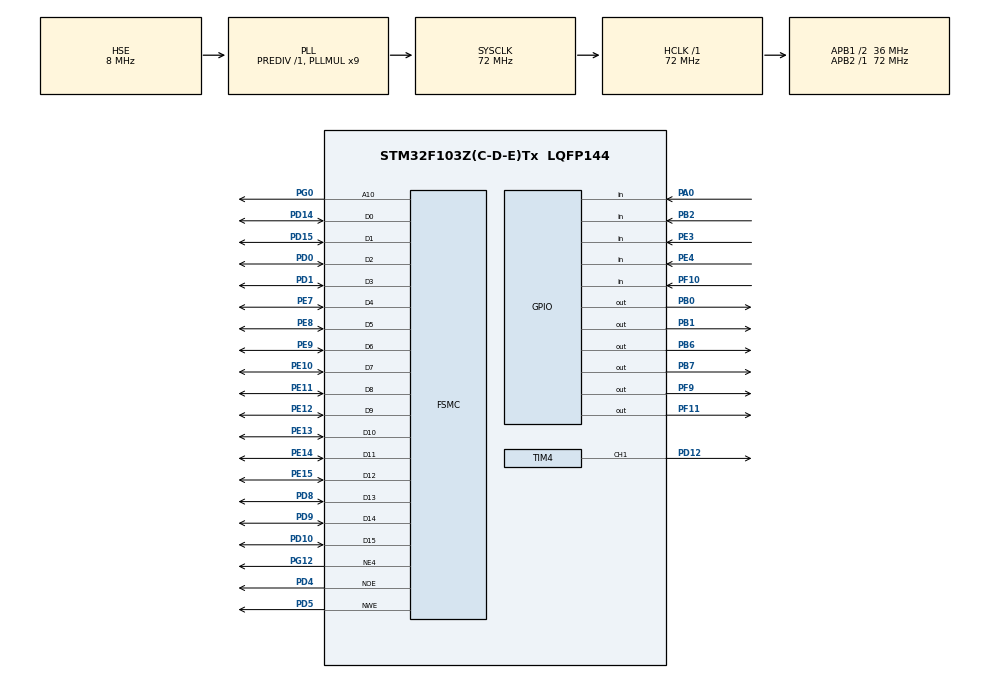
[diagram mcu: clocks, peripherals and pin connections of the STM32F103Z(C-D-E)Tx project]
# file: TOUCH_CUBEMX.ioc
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Dma.Request0=TIM4_CH1
Dma.TIM4_CH1.0.Direction=DMA_MEMORY_TO_PERIPH
Dma.TIM4_CH1.0.Instance=DMA1_Channel1
Dma.TIM4_CH1.0.MemDataAlignment=DMA_MDATAALIGN_HALFWORD
Dma.TIM4_CH1.0.MemInc=DMA_MINC_ENABLE
Dma.TIM4_CH1.0.Mode=DMA_NORMAL
Dma.TIM4_CH1.0.PeriphDataAlignment=DMA_PDATAALIGN_HALFWORD
Dma.TIM4_CH1.0.PeriphInc=DMA_PINC_DISABLE
Dma.TIM4_CH1.0.Priority=DMA_PRIORITY_HIGH
FSMC.AddressSetupTime1=0x06
FSMC.BusTurnAroundDuration1=0
FSMC.DataSetupTime1=26
FSMC.ExtendedAddressSetupTime1=3
FSMC.ExtendedBusTurnAroundDuration1=0
FSMC.ExtendedDataSetupTime1=0x06
FSMC.ExtendedMode1=FSMC_EXTENDED_MODE_ENABLE
Mcu.Family=STM32F1
Mcu.Name=STM32F103Z(C-D-E)Tx
Mcu.Package=LQFP144
NVIC.DMA1_Channel1_IRQn=true\:0\:0\:false\:false\:true\:false\:true\:true
NVIC.PriorityGroup=NVIC_PRIORITYGROUP_4
NVIC.TIM2_IRQn=true\:0\:0\:false\:false\:true\:true\:true\:true
NVIC.TIM3_IRQn=true\:0\:0\:false\:false\:true\:true\:true\:true
NVIC.TIM6_IRQn=true\:1\:0\:true\:false\:true\:true\:true\:true
OSC_IN.Mode=HSE-External-Oscillator
OSC_IN.Signal=RCC_OSC_IN
OSC_OUT.Mode=HSE-External-Oscillator
OSC_OUT.Signal=RCC_OSC_OUT
PA0-WKUP.GPIO_PuPd=GPIO_PULLDOWN
PA0-WKUP.Signal=GPIO_Input
PA13.Mode=Serial_Wire
PA13.Signal=SYS_JTMS-SWDIO
PA14.Mode=Serial_Wire
PA14.Signal=SYS_JTCK-SWCLK
PB0.GPIO_PuPd=GPIO_PULLUP
PB0.GPIO_Speed=GPIO_SPEED_FREQ_HIGH
PB0.Signal=GPIO_Output
PB1.GPIO_PuPd=GPIO_PULLUP
PB1.GPIO_Speed=GPIO_SPEED_FREQ_HIGH
PB1.Signal=GPIO_Output
PB2.GPIO_PuPd=GPIO_PULLUP
PB2.Signal=GPIO_Input
PB6.GPIO_PuPd=GPIO_PULLUP
PB6.GPIO_Speed=GPIO_SPEED_FREQ_HIGH
PB6.Signal=GPIO_Output
PB7.GPIO_PuPd=GPIO_PULLUP
PB7.GPIO_Speed=GPIO_SPEED_FREQ_HIGH
PB7.Signal=GPIO_Output
PC14-OSC32_IN.Mode=LSE-External-Oscillator
PC14-OSC32_IN.Signal=RCC_OSC32_IN
PC15-OSC32_OUT.Mode=LSE-External-Oscillator
PC15-OSC32_OUT.Signal=RCC_OSC32_OUT
PD0.Signal=FSMC_D2_DA2
PD1.Signal=FSMC_D3_DA3
PD10.Signal=FSMC_D15_DA15
PD12.Signal=S_TIM4_CH1
PD14.Signal=FSMC_D0_DA0
PD15.Signal=FSMC_D1_DA1
PD4.Signal=FSMC_NOE
PD5.Signal=FSMC_NWE
PD8.Signal=FSMC_D13_DA13
PD9.Signal=FSMC_D14_DA14
PE10.Signal=FSMC_D7_DA7
PE11.Signal=FSMC_D8_DA8
PE12.Signal=FSMC_D9_DA9
PE13.Signal=FSMC_D10_DA10
PE14.Signal=FSMC_D11_DA11
PE15.Signal=FSMC_D12_DA12
PE3.GPIO_PuPd=GPIO_PULLUP
PE3.Signal=GPIO_Input
PE4.GPIO_PuPd=GPIO_PULLUP
PE4.Signal=GPIO_Input
PE7.Signal=FSMC_D4_DA4
PE8.Signal=FSMC_D5_DA5
PE9.Signal=FSMC_D6_DA6
PF10.GPIO_PuPd=GPIO_PULLUP
PF10.Signal=GPIO_Input
PF11.GPIO_Speed=GPIO_SPEED_FREQ_HIGH
PF11.Signal=GPIO_Output
PF9.GPIO_PuPd=GPIO_NOPULL
PF9.GPIO_Speed=GPIO_SPEED_FREQ_HIGH
PF9.Signal=GPIO_Output
PG0.Signal=FSMC_A10
PG12.Mode=NorPsramChipSelect4_1
PG12.Signal=FSMC_NE4
ProjectManager.HeapSize=0x200
ProjectManager.StackSize=0x400
ProjectManager.TargetToolchain=MDK-ARM V5.32
RCC.AHBFreq_Value=72000000
RCC.APB1CLKDivider=RCC_HCLK_DIV2
RCC.APB1Freq_Value=36000000
RCC.APB1TimFreq_Value=72000000
RCC.APB2Freq_Value=72000000
RCC.APB2TimFreq_Value=72000000
RCC.HCLKFreq_Value=72000000
RCC.PLLMUL=RCC_PLL_MUL9
RCC.PLLSourceVirtual=RCC_PLLSOURCE_HSE
RCC.SYSCLKFreq_VALUE=72000000
RCC.SYSCLKSource=RCC_SYSCLKSOURCE_PLLCLK
RCC.USBFreq_Value=72000000
SH.FSMC_A10.0=FSMC_A10,A10_1
SH.FSMC_D0_DA0.0=FSMC_D0,16b-d1
SH.FSMC_D10_DA10.0=FSMC_D10,16b-d1
SH.FSMC_D11_DA11.0=FSMC_D11,16b-d1
SH.FSMC_D12_DA12.0=FSMC_D12,16b-d1
SH.FSMC_D13_DA13.0=FSMC_D13,16b-d1
SH.FSMC_D14_DA14.0=FSMC_D14,16b-d1
SH.FSMC_D15_DA15.0=FSMC_D15,16b-d1
SH.FSMC_D1_DA1.0=FSMC_D1,16b-d1
SH.FSMC_D2_DA2.0=FSMC_D2,16b-d1
SH.FSMC_D3_DA3.0=FSMC_D3,16b-d1
SH.FSMC_D4_DA4.0=FSMC_D4,16b-d1
SH.FSMC_D5_DA5.0=FSMC_D5,16b-d1
SH.FSMC_D6_DA6.0=FSMC_D6,16b-d1
SH.FSMC_D7_DA7.0=FSMC_D7,16b-d1
SH.FSMC_D8_DA8.0=FSMC_D8,16b-d1
SH.FSMC_D9_DA9.0=FSMC_D9,16b-d1
SH.FSMC_NOE.0=FSMC_NOE,Lcd1
SH.FSMC_NWE.0=FSMC_NWE,Lcd1
SH.S_TIM4_CH1.0=TIM4_CH1,PWM Generation1 CH1
TIM2.Period=24999
TIM2.Prescaler=71
TIM3.Period=999
TIM3.Prescaler=7199
TIM4.Channel-PWM\ Generation1\ CH1=TIM_CHANNEL_1
TIM4.Period=89
TIM6.AutoReloadPreload=TIM_AUTORELOAD_PRELOAD_ENABLE
TIM6.Period=999
TIM6.Prescaler=71
VP_TIM2_VS_ClockSourceINT.Mode=Internal
VP_TIM3_VS_ClockSourceINT.Mode=Internal
VP_TIM4_VS_ClockSourceINT.Mode=Internal
VP_TIM6_VS_ClockSourceINT.Mode=Enable_Timer
board=custom

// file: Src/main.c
/* USER CODE BEGIN Header */
/**
  ******************************************************************************
  * @file           : main.c
  * @brief          : Main program body
  ******************************************************************************
  * @attention
  *
  * Copyright (c) 2022 STMicroelectronics.
  * All rights reserved.
  *
  * This software is licensed under terms that can be found in the LICENSE file
  * in the root directory of this software component.
  * If no LICENSE file comes with this software, it is provided AS-IS.
  *
  ******************************************************************************
  */
/* USER CODE END Header */
#include "main.h"
#include "dma.h"
#include "tim.h"
#include "gpio.h"
#include "fsmc.h"

/* USER CODE BEGIN Includes */

#include "lcd.h"
#include "key.h"
#include "24cxx.h"
#include "touch.h"
#include "delay.h"
#include "led.h"
#include "lvgl.h"
#include "lv_conf.h"
#include "lv_port_disp.h"
#include "lv_port_indev.h"
#include "lv_example_event.h"
#include "test_demo.h"
#include "ui.h"
#include "ui_helpers.h"
#include "beep.h"
#include "ws2812.h"
#include "user_time.h"

/* USER CODE END Includes */

void SystemClock_Config(void);

/* USER CODE BEGIN 0 */
int time_tick = 0;	//时基
int Hotwind_S = 0;
int Hotwind_M = 0;
int Watermist_S = 0;
int Watermist_M = 0;
int Light_S = 0;
int Light_M = 0;

int c_red = 0;
int c_green = 0;
int c_blue = 0;
char flash_state = 0;	//频闪控制

extern int Set_time1,Set_time2,Set_time3;
extern char Hotwind_state,Watermist_state,Light_state;
//清空屏幕并在右上角显示"RST"
void Load_Drow_Dialog(void)
{
	LCD_Clear(WHITE);//清屏
 	POINT_COLOR=BLUE;//设置字体为蓝色
	LCD_ShowString(lcddev.width-24,0,200,16,16,"RST");//显示清屏区域
  	POINT_COLOR=RED;//设置画笔蓝色
}

void rtp_test(void)
{
	u8 key;
	u8 i=0;
	while(1)
	{
	 	key=KEY_Scan(0);
		tp_dev.scan(0);
		if(tp_dev.sta&TP_PRES_DOWN)			//触摸屏被按下
		{
		 	if(tp_dev.x[0]<lcddev.width&&tp_dev.y[0]<lcddev.height)
			{
				if(tp_dev.x[0]>(lcddev.width-24)&&tp_dev.y[0]<16)Load_Drow_Dialog();//清除
				else TP_Draw_Big_Point(tp_dev.x[0],tp_dev.y[0],RED);		//画图
			}
		}else delay_ms(10);	//没有按键按下的时候
		if(key==KEY0_PRES)	//KEY0按下,则执行校准程序
		{
			LCD_Clear(WHITE);	//清屏
		    TP_Adjust();  		//屏幕校准
			TP_Save_Adjdata();
			Load_Drow_Dialog();
		}
		i++;
		if(i%20==0)LED0=!LED0;
	}
}

/* USER CODE END 0 */

int main(void)
{

  /* MCU Configuration--------------------------------------------------------*/

  /* Reset of all peripherals, Initializes the Flash interface and the Systick. */
  HAL_Init();

  /* Configure the system clock */
  SystemClock_Config();

  /* Initialize all configured peripherals */
  MX_GPIO_Init();
  MX_DMA_Init();
  MX_FSMC_Init();
  MX_TIM6_Init();
  MX_TIM4_Init();
  MX_TIM2_Init();
  MX_TIM3_Init();
  /* USER CODE BEGIN 2 */

	delay_init(72);			//us延时初始化
	LCD_Init();				//屏幕初始化
	//tp_dev.init();			//触摸屏初始化
	KEY_Init();				//按键初始化
	HAL_TIM_Base_Start_IT(&htim6);		//lvgl心跳定时器开启
	HAL_TIM_Base_Start_IT(&htim2);		//灯光频闪定时器开启
	lv_init();				//lvgl初始化
	lv_port_disp_init();	//lvgl显示初始化
	lv_port_indev_init();	//lvgl输入初始化
	lcddev.dir = 0;

	BEEP_Init();	//输出测试IO初始化

	ui_init();

	WS_WriteAll_RGB(255,255,255);		//上电亮白灯
	HAL_Delay(500);

	//rtp_test();		//触摸测试
  /* USER CODE END 2 */

  /* Infinite loop */
  /* USER CODE BEGIN WHILE */
  while (1)
  {
		tp_dev.scan(0);		//触摸扫描
		lv_task_handler();	//lvgl事务处理
    /* USER CODE END WHILE */

  }
}

void SystemClock_Config(void)
{
  RCC_OscInitTypeDef RCC_OscInitStruct = {0};
  RCC_ClkInitTypeDef RCC_ClkInitStruct = {0};

  /** Initializes the RCC Oscillators according to the specified parameters
  * in the RCC_OscInitTypeDef structure.
  */
  RCC_OscInitStruct.OscillatorType = RCC_OSCILLATORTYPE_HSE;
  RCC_OscInitStruct.HSEState = RCC_HSE_ON;
  RCC_OscInitStruct.HSEPredivValue = RCC_HSE_PREDIV_DIV1;
  RCC_OscInitStruct.HSIState = RCC_HSI_ON;
  RCC_OscInitStruct.PLL.PLLState = RCC_PLL_ON;
  RCC_OscInitStruct.PLL.PLLSource = RCC_PLLSOURCE_HSE;
  RCC_OscInitStruct.PLL.PLLMUL = RCC_PLL_MUL9;
  if (HAL_RCC_OscConfig(&RCC_OscInitStruct) != HAL_OK)
  {
    Error_Handler();
  }

  /** Initializes the CPU, AHB and APB buses clocks
  */
  RCC_ClkInitStruct.ClockType = RCC_CLOCKTYPE_HCLK|RCC_CLOCKTYPE_SYSCLK
                              |RCC_CLOCKTYPE_PCLK1|RCC_CLOCKTYPE_PCLK2;
  RCC_ClkInitStruct.SYSCLKSource = RCC_SYSCLKSOURCE_PLLCLK;
  RCC_ClkInitStruct.AHBCLKDivider = RCC_SYSCLK_DIV1;
  RCC_ClkInitStruct.APB1CLKDivider = RCC_HCLK_DIV2;
  RCC_ClkInitStruct.APB2CLKDivider = RCC_HCLK_DIV1;

  if (HAL_RCC_ClockConfig(&RCC_ClkInitStruct, FLASH_LATENCY_2) != HAL_OK)
  {
    Error_Handler();
  }
}

/* USER CODE BEGIN 4 */

void HAL_TIM_PeriodElapsedCallback(TIM_HandleTypeDef *htim)
{
	if(htim->Instance == htim6.Instance)	//定时器4提供LVGL时钟
	{
		lv_tick_inc(1);		//lvgl心跳
	}

	if(htim->Instance == htim2.Instance)	//定时器2提供LED频闪
	{
		if(flash_state == 1)
		{
			LED_RUN();
			flash_state = 0;
		}
		else
		{
			WS_CloseAll();
			flash_state = 1;
		}

	}
	if(htim->Instance == htim3.Instance)	//提供倒计时服务,100ms进入一次中断
	{
		time_tick ++;
		if(time_tick >= 10)
		{
			time_tick = 0;
			if(Hotwind_state == 1)	//当热风开启，开始倒计时
			{
				if(Hotwind_S == 0)
				{
					Hotwind_S = 60;
					Hotwind_M -- ;
				}
				Hotwind_S --;		//未完待续...

			}

			if(Watermist_state == 1)
			{

			}

		}
	}
}

/* USER CODE END 4 */

void Error_Handler(void)
{
  __disable_irq();
  while (1)
  {
  }
}
